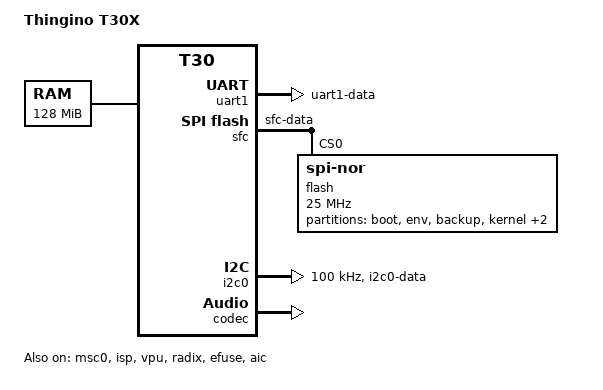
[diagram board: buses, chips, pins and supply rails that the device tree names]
// SPDX-License-Identifier: GPL-2.0
/dts-v1/;

#include <dt-bindings/gpio/gpio.h>
#include "t30.dtsi"

/ {
	compatible = "thingino,t30", "ingenic,t30";
	model = "Thingino T30X";

	aliases {
		serial1 = &uart1;
	};

	chosen {
		stdout-path = "serial1:115200n8";
	};

	memory@0 {
		device_type = "memory";
		/* 128 MiB as the T30X ships; the split with the ISP memory is U-Boot's */
		reg = <0x0 0x8000000>;
	};
};

&exclk {
	clock-frequency = <24000000>;
};

&uart1 {
	status = "okay";

	pinctrl-names = "default";
	pinctrl-0 = <&pins_uart1>;
};

&tcu {
	/* 750 kHz for the system timer and clocksource; SYSOST is sched_clock */
	assigned-clocks = <&tcu TCU_CLK_TIMER0>, <&tcu TCU_CLK_TIMER1>;
	assigned-clock-rates = <750000>, <750000>;
};

&sfc {
	status = "okay";

	pinctrl-names = "default";
	pinctrl-0 = <&pins_sfc>;

	/*
	 * The partition layout is the current thingino Makefile's (U-Boot 320K,
	 * env 64K, backup 64K, kernel 1600K); the rootfs and data split depends
	 * on the image and the bench flash's actual layout is unverified, so
	 * everything is read-only.
	 */
	flash@0 {
		compatible = "jedec,spi-nor";
		reg = <0>;
		spi-max-frequency = <25000000>;

		partitions {
			compatible = "fixed-partitions";
			#address-cells = <1>;
			#size-cells = <1>;

			partition@0 {
				label = "boot";
				reg = <0x0 0x50000>;
				read-only;
			};

			partition@50000 {
				label = "env";
				reg = <0x50000 0x10000>;
				read-only;
			};

			partition@60000 {
				label = "backup";
				reg = <0x60000 0x10000>;
				read-only;
			};

			partition@70000 {
				label = "kernel";
				reg = <0x70000 0x190000>;
				read-only;
			};

			partition@200000 {
				label = "rootfs_data";
				reg = <0x200000 0xe00000>;
				read-only;
			};

			partition@0_all {
				label = "all";
				reg = <0x0 0x1000000>;
				read-only;
			};
		};
	};
};

&msc0 {
	status = "okay";
	bus-width = <4>;
	max-frequency = <24000000>;
	/*
	 * The Wyze Video Doorbell profile (thingino camera config
	 * wyze_vdb1_t30x_sc4236_rtl8189ftv) has no card slot (mmc_cd -1) and
	 * puts its Wi-Fi on MSC1; MSC0 is enabled to exercise the controller.
	 * Whether PB0-PB5 are free on the real board is unverified.
	 */
	broken-cd;

	pinctrl-names = "default";
	pinctrl-0 = <&pins_mmc0>;
};

&i2c0 {
	status = "okay";
	clock-frequency = <100000>;

	pinctrl-names = "default";
	pinctrl-0 = <&pins_i2c0>;
};

&isp {
	status = "okay";

	/*
	 * The sensor drivers pick a DVP pad group at probe time; MIPI sensors
	 * only need the MCLK pad.
	 */
	pinctrl-names = "default", "dvp-10bit-low", "dvp-10bit-high",
			"dvp-12bit";
	pinctrl-0 = <&pins_cim_mclk>;
	pinctrl-1 = <&pins_cim_dvp_10bit_low>;
	pinctrl-2 = <&pins_cim_dvp_10bit_high>;
	pinctrl-3 = <&pins_cim_dvp_12bit>;
};

&vpu {
	status = "okay";
};

&radix {
	status = "okay";
};

&efuse {
	status = "okay";
};

&pinctrl {
	pins_uart1: uart1 {
		function = "uart1";
		groups = "uart1-data";
	};

	pins_mmc0: mmc0 {
		function = "mmc0";
		groups = "mmc0-1bit", "mmc0-4bit";
	};

	pins_sfc: sfc {
		function = "sfc";
		groups = "sfc-data";
	};

	pins_cim_mclk: cim-mclk {
		function = "cim";
		groups = "cim-mclk";
	};

	pins_cim_dvp_10bit_low: cim-dvp-10bit-low {
		function = "cim";
		groups = "cim-mclk", "cim-pclk", "cim-sync", "cim-data-10bit";
	};

	pins_cim_dvp_10bit_high: cim-dvp-10bit-high {
		function = "cim";
		groups = "cim-mclk", "cim-pclk", "cim-sync",
			 "cim-data-10bit-high";
	};

	pins_cim_dvp_12bit: cim-dvp-12bit {
		function = "cim";
		groups = "cim-mclk", "cim-pclk", "cim-sync", "cim-data-12bit";
	};

	pins_i2c0: i2c0 {
		function = "i2c0";
		groups = "i2c0-data";
	};
};

&aic {
	status = "okay";
};

/* Speaker amp enable: PB31 */
&codec {
	spk-gpios = <&gpb 31 GPIO_ACTIVE_HIGH>;
	status = "okay";
};
